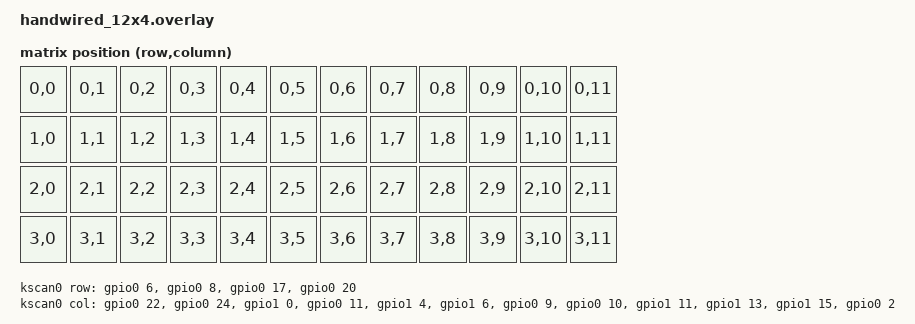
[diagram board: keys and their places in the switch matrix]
// Handwired 12x4 ortholinear keyboard shield overlay
// Controller: nice_nano (Pro Micro nRF52840)

#include <dt-bindings/zmk/matrix_transform.h>
#include <physical_layouts.dtsi>

/ {
    chosen {
        zmk,kscan = &kscan0;
        zmk,physical-layout = &default_layout;
    };

    kscan0: kscan0 {
        compatible = "zmk,kscan-gpio-matrix";
        diode-direction = "col2row";
        wakeup-source;

        row-gpios
            = <&gpio0 6  (GPIO_ACTIVE_LOW | GPIO_PULL_UP)>
            , <&gpio0 8  (GPIO_ACTIVE_LOW | GPIO_PULL_UP)>
            , <&gpio0 17 (GPIO_ACTIVE_LOW | GPIO_PULL_UP)>
            , <&gpio0 20 (GPIO_ACTIVE_LOW | GPIO_PULL_UP)>
            ;

        col-gpios
            = <&gpio0 22 GPIO_ACTIVE_LOW>
            , <&gpio0 24 GPIO_ACTIVE_LOW>
            , <&gpio1 0  GPIO_ACTIVE_LOW>
            , <&gpio0 11 GPIO_ACTIVE_LOW>
            , <&gpio1 4  GPIO_ACTIVE_LOW>
            , <&gpio1 6  GPIO_ACTIVE_LOW>
            , <&gpio0 9  GPIO_ACTIVE_LOW>
            , <&gpio0 10 GPIO_ACTIVE_LOW>
            , <&gpio1 11 GPIO_ACTIVE_LOW>
            , <&gpio1 13 GPIO_ACTIVE_LOW>
            , <&gpio1 15 GPIO_ACTIVE_LOW>
            , <&gpio0 2  GPIO_ACTIVE_LOW>
            ;
    };

    default_transform: keymap_transform0 {
        compatible = "zmk,matrix-transform";
        columns = <12>;
        rows = <4>;
        map = <
            RC(0,0)  RC(0,1)  RC(0,2)  RC(0,3)  RC(0,4)  RC(0,5)  RC(0,6)  RC(0,7)  RC(0,8)  RC(0,9)  RC(0,10) RC(0,11)
            RC(1,0)  RC(1,1)  RC(1,2)  RC(1,3)  RC(1,4)  RC(1,5)  RC(1,6)  RC(1,7)  RC(1,8)  RC(1,9)  RC(1,10) RC(1,11)
            RC(2,0)  RC(2,1)  RC(2,2)  RC(2,3)  RC(2,4)  RC(2,5)  RC(2,6)  RC(2,7)  RC(2,8)  RC(2,9)  RC(2,10) RC(2,11)
            RC(3,0)  RC(3,1)  RC(3,2)  RC(3,3)  RC(3,4)  RC(3,5)  RC(3,6)  RC(3,7)  RC(3,8)  RC(3,9)  RC(3,10) RC(3,11)
        >;
    };

    default_layout: default_layout {
        compatible = "zmk,physical-layout";
        display-name = "12x4 Ortho";
        transform = <&default_transform>;
        kscan = <&kscan0>;
    };
};
